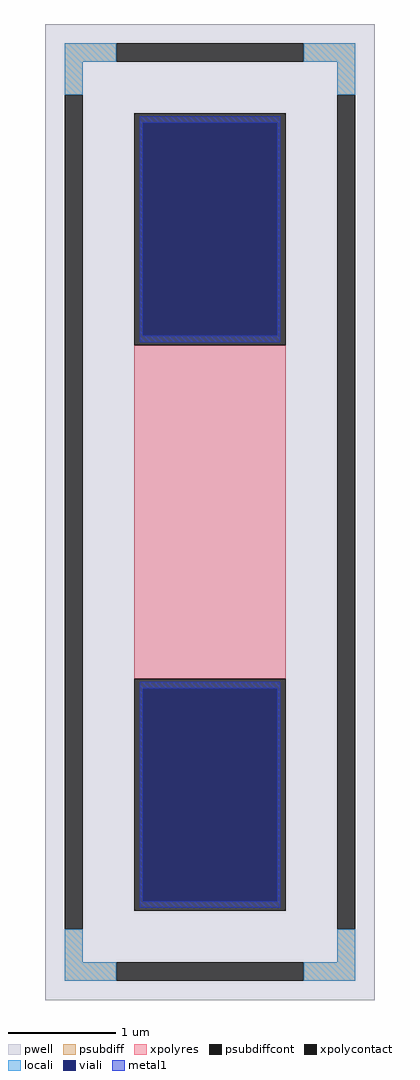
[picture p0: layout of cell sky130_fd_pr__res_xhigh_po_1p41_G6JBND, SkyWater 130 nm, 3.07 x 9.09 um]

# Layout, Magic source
magic
tech sky130A
magscale 1 2
<< pwell >>
rect -307 -909 307 909
<< psubdiff >>
rect -271 839 -175 873
rect 175 839 271 873
rect -271 777 -237 839
rect 237 777 271 839
rect -271 -839 -237 -777
rect 237 -839 271 -777
rect -271 -873 -175 -839
rect 175 -873 271 -839
<< psubdiffcont >>
rect -175 839 175 873
rect -271 -777 -237 777
rect 237 -777 271 777
rect -175 -873 175 -839
<< xpolycontact >>
rect -141 311 141 743
rect -141 -743 141 -311
<< xpolyres >>
rect -141 -311 141 311
<< locali >>
rect -271 839 -175 873
rect 175 839 271 873
rect -271 777 -237 839
rect 237 777 271 839
rect -271 -839 -237 -777
rect 237 -839 271 -777
rect -271 -873 -175 -839
rect 175 -873 271 -839
<< viali >>
rect -125 328 125 725
rect -125 -725 125 -328
<< metal1 >>
rect -131 725 131 737
rect -131 328 -125 725
rect 125 328 131 725
rect -131 316 131 328
rect -131 -328 131 -316
rect -131 -725 -125 -328
rect 125 -725 131 -328
rect -131 -737 131 -725
<< properties >>
string FIXED_BBOX -254 -856 254 856
string gencell sky130_fd_pr__res_xhigh_po_1p41
string library sky130
string parameters w 1.410 l 3.27 m 1 nx 1 wmin 1.410 lmin 0.50 rho 2000 val 4.905k dummy 0 dw 0.0 term 188.2 sterm 0.0 caplen 0 wmax 1.410 guard 1 glc 1 grc 1 gtc 1 gbc 1 compatible {sky130_fd_pr__res_xhigh_po_0p35  sky130_fd_pr__res_xhigh_po_0p69 sky130_fd_pr__res_xhigh_po_1p41  sky130_fd_pr__res_xhigh_po_2p85 sky130_fd_pr__res_xhigh_po_5p73} snake 0 full_metal 1 n_guard 0 hv_guard 0 vias 1 viagb 0 viagt 0 viagl 0 viagr 0
<< end >>
